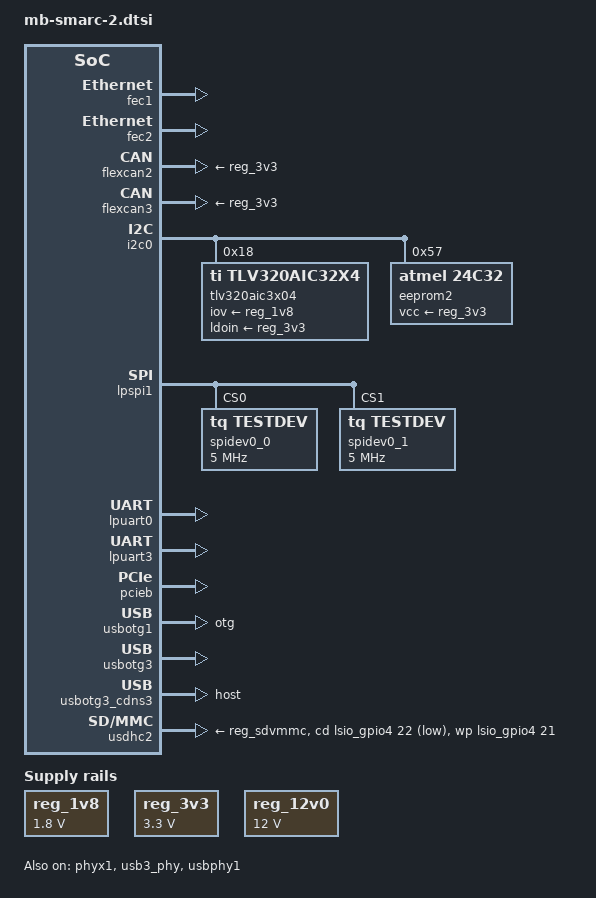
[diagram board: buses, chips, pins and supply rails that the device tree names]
// SPDX-License-Identifier: (GPL-2.0-or-later OR MIT)
/*
 * Copyright (c) 2018-2024 TQ-Systems GmbH <linux@ew.tq-group.com>,
 * D-82229 Seefeld, Germany.
 * Author: Alexander Stein
 */

/ {
	aliases {
		rtc0 = &rtc1;
		rtc1 = &rtc;
	};

	backlight_lvds0: backlight-lvds0 {
		compatible = "pwm-backlight";
		pinctrl-names = "default";
		pinctrl-0 = <&pinctrl_backlight_lvds0>;
		pwms = <&pwm_mipi_lvds0 0 5000000 0>;
		brightness-levels = <0 4 8 16 32 64 128 255>;
		default-brightness-level = <7>;
		power-supply = <&reg_12v0>;
		enable-gpios = <&lsio_gpio1 2 GPIO_ACTIVE_HIGH>;
		status = "disabled";
	};

	backlight_lvds1: backlight-lvds1 {
		compatible = "pwm-backlight";
		pinctrl-names = "default";
		pinctrl-0 = <&pinctrl_backlight_lvds1>;
		pwms = <&pwm_mipi_lvds1 0 100000 0>;
		brightness-levels = <0 4 8 16 32 64 128 255>;
		default-brightness-level = <7>;
		power-supply = <&reg_12v0>;
		enable-gpios = <&lsio_gpio1 0 GPIO_ACTIVE_HIGH>;
		status = "disabled";
	};

	chosen {
		stdout-path = &lpuart0;
	};

	panel_lvds0: panel-lvds0 {
		/*
		 * Display is not fixed, so compatible has to be added from
		 * DT
		 */
		backlight = <&backlight_lvds0>;
		power-supply = <&reg_lvds0>;
		status = "disabled";

		port {
			panel_in_lvds0: endpoint {
				remote-endpoint = <&lvds0_out>;
			};
		};
	};

	panel_lvds1: panel-lvds1 {
		/*
		 * Display is not fixed, so compatible has to be added from
		 * DT
		 */
		backlight = <&backlight_lvds1>;
		power-supply = <&reg_lvds1>;
		status = "disabled";

		port {
			panel_in_lvds1: endpoint {
				remote-endpoint = <&lvds1_out>;
			};
		};
	};

	reg_1v8: regulator-1v8 {
		compatible = "regulator-fixed";
		regulator-name = "1V8";
		regulator-min-microvolt = <1800000>;
		regulator-max-microvolt = <1800000>;
		regulator-always-on;
	};

	reg_3v3: regulator-3v3 {
		compatible = "regulator-fixed";
		regulator-name = "3V3";
		regulator-min-microvolt = <3300000>;
		regulator-max-microvolt = <3300000>;
		regulator-always-on;
	};

	reg_12v0: regulator-12v0 {
		compatible = "regulator-fixed";
		regulator-name = "12V0";
		regulator-min-microvolt = <12000000>;
		regulator-max-microvolt = <12000000>;
		regulator-always-on;
	};

	sound {
		compatible = "fsl,imx-audio-tlv320aic32x4";
		model = "tqm-tlv320aic32";
		ssi-controller = <&sai1>;
		audio-codec = <&tlv320aic3x04>;
	};
};

&ethphy0 {
	/* LED1: Link, LED2: activity */
	ti,led-function = <0xc100>;
	/* active high, LED1/2 driven by phy */
	ti,led-ctrl = <0x1441>;
};

&ethphy3 {
	/* LED1: Link, LED2: activity */
	ti,led-function = <0xc100>;
	/* active high, LED1/2 driven by phy */
	ti,led-ctrl = <0x1441>;
};

&fec1 {
	status = "okay";
};

&fec2 {
	status = "okay";
};

&flexcan2 {
	xceiver-supply = <&reg_3v3>;
	status = "okay";
};

&flexcan3 {
	xceiver-supply = <&reg_3v3>;
	status = "okay";
};

&i2c0 {
	tlv320aic3x04: audio-codec@18 {
		compatible = "ti,tlv320aic32x4";
		reg = <0x18>;
		clocks = <&mclkout0_lpcg 0>;
		clock-names = "mclk";
		iov-supply = <&reg_1v8>;
		ldoin-supply = <&reg_3v3>;
	};

	eeprom2: eeprom@57 {
		compatible = "atmel,24c32";
		reg = <0x57>;
		pagesize = <32>;
		vcc-supply = <&reg_3v3>;
	};
};

&ldb1 {
	lvds-channel@0 {
		port@1 {
			reg = <1>;

			lvds0_out: endpoint {
				remote-endpoint = <&panel_in_lvds0>;
			};
		};
	};
};

&ldb2 {
	lvds-channel@0 {
		port@1 {
			reg = <1>;

			lvds1_out: endpoint {
				remote-endpoint = <&panel_in_lvds1>;
			};
		};
	};
};

&lpspi1 {
	status = "okay";

	spidev0_0: spidev0@0 {
		compatible = "tq,testdev";
		reg = <0>;
		spi-max-frequency = <5000000>;
	};

	spidev0_1: spidev0@1 {
		compatible = "tq,testdev";
		reg = <1>;
		spi-max-frequency = <5000000>;
	};
};

&lpuart0 {
	status = "okay";
};

&lpuart3 {
	status = "okay";
};

&pcieb {
	status = "okay";
};

&phyx1 {
	fsl,refclk-pad-mode = <IMX8_PCIE_REFCLK_PAD_INPUT>;
	status = "okay";
};

&reg_sdvmmc {
	off-on-delay-us = <200000>;
	status = "okay";
};

&usbotg1 {
	pinctrl-names = "default";
	pinctrl-0 = <&pinctrl_usbotg1>;
	srp-disable;
	hnp-disable;
	adp-disable;
	power-active-high;
	over-current-active-low;
	dr_mode = "otg";
	status = "okay";
};

&usbotg3 {
	status = "okay";
};

&usbotg3_cdns3 {
	dr_mode = "host";
	status = "okay";
};

&usb3_phy {
	status = "okay";
};

&usbphy1 {
	status = "okay";
};

&usdhc2 {
	cd-gpios = <&lsio_gpio4 22 GPIO_ACTIVE_LOW>;
	wp-gpios = <&lsio_gpio4 21 GPIO_ACTIVE_HIGH>;
	vmmc-supply = <&reg_sdvmmc>;
	no-1-8-v;
	no-mmc;
	no-sdio;
	status = "okay";
};
